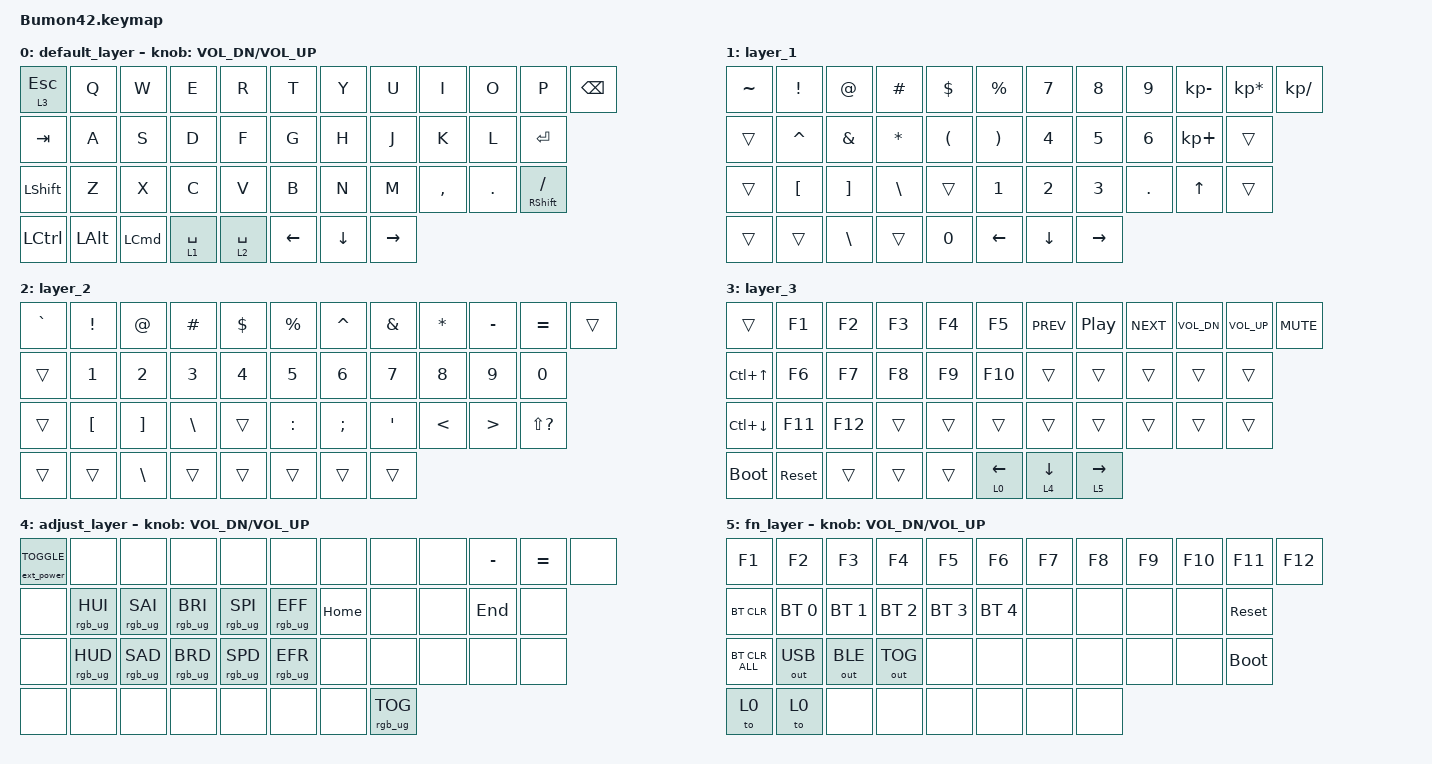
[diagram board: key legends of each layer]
#include <behaviors.dtsi>
#include <dt-bindings/zmk/bt.h>
#include <dt-bindings/zmk/ext_power.h>
#include <dt-bindings/zmk/keys.h>
#include <dt-bindings/zmk/outputs.h>
#include <dt-bindings/zmk/rgb.h>

// changed lwr and rse

#define DEF 0
#define GAM 1
#define RSE 2
#define LWR 3
#define ADJ 4
#define FN  5

/ {
    keymap {
        compatible = "zmk,keymap";

        default_layer {
            bindings = <
&lt 3 ESCAPE      &kp Q         &kp W     &kp E        &kp R        &kp T     &kp Y     &kp U      &kp I      &kp O       &kp P             &kp BSPC
&kp TAB           &kp A         &kp S     &kp D        &kp F        &kp G     &kp H     &kp J      &kp K      &kp L       &kp ENTER
&kp LSHFT         &kp Z         &kp X     &kp C        &kp V        &kp B     &kp N     &kp M      &kp COMMA  &kp PERIOD  &mt RSHIFT SLASH
&kp LEFT_CONTROL  &kp LEFT_ALT  &kp LCMD  &lt 1 SPACE  &lt 2 SPACE  &kp LEFT  &kp DOWN  &kp RIGHT
            >;

            sensor-bindings = <&inc_dec_kp C_VOL_DN C_VOL_UP>;
        };

        layer_1 {
            bindings = <
&kp TILDE  &kp EXCL          &kp AT             &kp POUND      &kp DOLLAR            &kp PERCENT            &kp N7    &kp N8     &kp N9   &kp KP_MINUS  &kp KP_ASTERISK  &kp KP_DIVIDE
&trans     &kp CARET         &kp AMPERSAND      &kp ASTERISK   &kp LEFT_PARENTHESIS  &kp RIGHT_PARENTHESIS  &kp N4    &kp N5     &kp N6   &kp KP_PLUS   &trans
&trans     &kp LEFT_BRACKET  &kp RIGHT_BRACKET  &kp BACKSLASH  &trans                &kp N1                 &kp N2    &kp N3     &kp DOT  &kp UP        &trans
&trans     &trans            &kp BACKSLASH      &trans         &kp N0                &kp LEFT               &kp DOWN  &kp RIGHT
            >;
        };

        layer_2 {
            bindings = <
&kp GRAVE  &kp EXCLAMATION  &kp AT_SIGN   &kp HASH       &kp DOLLAR    &kp PERCENT   &kp CARET      &kp AMPERSAND  &kp ASTERISK  &kp MINUS     &kp EQUAL      &trans
&trans     &kp NUMBER_1     &kp NUMBER_2  &kp NUMBER_3   &kp NUMBER_4  &kp NUMBER_5  &kp NUMBER_6   &kp NUMBER_7   &kp NUMBER_8  &kp NUMBER_9  &kp NUMBER_0
&trans     &kp LBKT         &kp RBKT      &kp BACKSLASH  &trans        &kp COLON     &kp SEMICOLON  &kp APOS       &kp LT        &kp GT        &kp LS(QMARK)
&trans     &trans           &kp BSLH      &trans         &trans        &trans        &trans         &trans
            >;
        };

        layer_3 {
            bindings = <
&trans            &kp F1      &kp F2   &kp F3  &kp F4  &kp F5      &kp C_PREV  &kp C_PLAY_PAUSE  &kp C_NEXT  &kp C_VOL_DN  &kp C_VOLUME_UP  &kp K_MUTE
&kp LC(UP_ARROW)  &kp F6      &kp F7   &kp F8  &kp F9  &kp F10     &trans      &trans            &trans      &trans        &trans
&kp LC(DOWN)      &kp F11     &kp F12  &trans  &trans  &trans      &trans      &trans            &trans      &trans        &trans
&bootloader       &sys_reset  &trans   &trans  &trans  &lt 0 LEFT  &lt 4 DOWN  &lt 5 RIGHT
            >;
        };

        adjust_layer {
            bindings = <
&ext_power EXT_POWER_TOGGLE_CMD  &none            &none            &none            &none            &none            &none     &none            &none  &kp MINUS  &kp EQUAL  &none
&none                            &rgb_ug RGB_HUI  &rgb_ug RGB_SAI  &rgb_ug RGB_BRI  &rgb_ug RGB_SPI  &rgb_ug RGB_EFF  &kp HOME  &none            &none  &kp END    &none
&none                            &rgb_ug RGB_HUD  &rgb_ug RGB_SAD  &rgb_ug RGB_BRD  &rgb_ug RGB_SPD  &rgb_ug RGB_EFR  &none     &none            &none  &none      &none
&none                            &none            &none            &none            &none            &none            &none     &rgb_ug RGB_TOG
            >;

            sensor-bindings = <&inc_dec_kp C_VOL_DN C_VOL_UP>;
        };

        fn_layer {
            bindings = <
&kp F1          &kp F2        &kp F3        &kp F4        &kp F5        &kp F6        &kp F7  &kp F8  &kp F9  &kp F10  &kp F11      &kp F12
&bt BT_CLR      &bt BT_SEL 0  &bt BT_SEL 1  &bt BT_SEL 2  &bt BT_SEL 3  &bt BT_SEL 4  &none   &none   &none   &none    &sys_reset
&bt BT_CLR_ALL  &out OUT_USB  &out OUT_BLE  &out OUT_TOG  &none         &none         &none   &none   &none   &none    &bootloader
&to 0           &to 0         &none         &none         &none         &none         &none   &none
            >;

            sensor-bindings = <&inc_dec_kp C_VOL_DN C_VOL_UP>;
        };
    };
};
